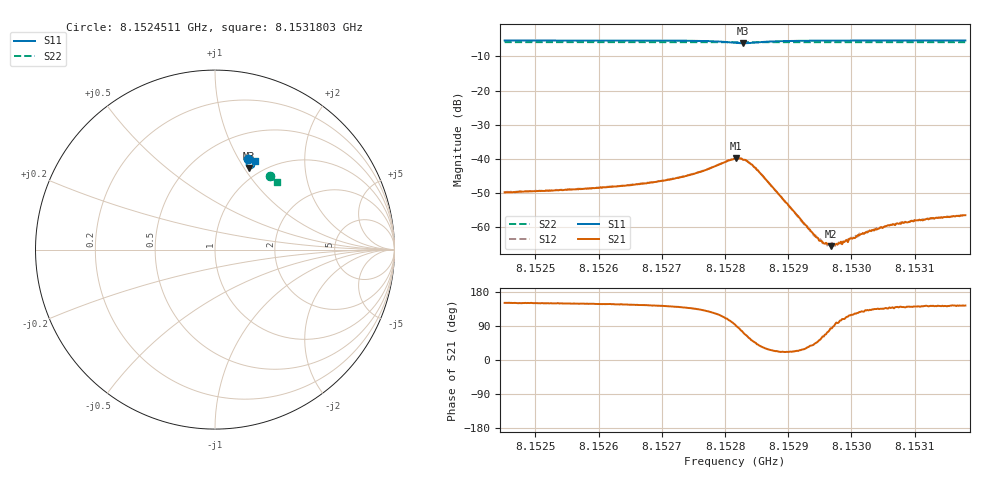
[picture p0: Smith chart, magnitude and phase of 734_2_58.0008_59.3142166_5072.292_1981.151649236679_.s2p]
#  HZ  S  RI  R  50.00
! Rohde & Schwarz Vector Network Analyzer
! Rohde-Schwarz,ZNB20-2Port,1311601062101988,3.16
! Created: UTC 3/21/2024, 1:23:12 AM
! freq[Hz]  re:S11  im:S11  re:S21  im:S21  re:S12  im:S12  re:S22  im:S22
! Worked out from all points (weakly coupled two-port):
!   401 points, 8.1524511 GHz to 8.1531803 GHz, reference 50 ohm
!   highest |S21| = -39.80 dB at 8.1528175 GHz (marker M1); lowest = -65.5 dB at 8.152967 GHz (marker M2)
!   lowest |S11| = -6.1 dB at 8.1528285 GHz (marker M3), VSWR 2.94, Z = 44 + j52.7 ohm
!   |S11| at or under -10 dB: nowhere
!   |S22| runs from -5.9 to -5.8 dB; largest |S21 - S12| = 0.00038
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8.15245115e9  0.186 0.5073  -0.00285 0.00159  -0.00285 0.00168  0.3082 0.4078
8.15257328e9  0.1959 0.5035  -0.00311 0.0019  -0.00309 0.00196  0.3144 0.4029
8.15263161e9  0.2011 0.5011  -0.00336 0.0022  -0.00334 0.00225  0.3173 0.4006
8.1526954e9  0.208 0.4969  -0.00377 0.00285  -0.00379 0.0029  0.3203 0.3979
8.15275009e9  0.2157 0.4893  -0.00432 0.00422  -0.00432 0.00433  0.323 0.3953
8.15279201e9  0.2199 0.4723  -0.00395 0.00743  -0.00381 0.00757  0.3248 0.3929
8.15281571e9  0.2072 0.4553  -0.000625 0.01  -0.000321 0.0101  0.3253 0.3916
8.15281753e9  0.2051 0.4545  4.38e-06 0.0102  0.00019 0.0102  0.3253 0.3916
8.15282847e9  0.1907 0.4543  0.00283 0.00931  0.00312 0.00951  0.3252 0.3914
8.15283941e9  0.1793 0.4635  0.00479 0.00722  0.00505 0.00702  0.3255 0.3915
8.15285217e9  0.1759 0.477  0.00517 0.00443  0.00522 0.00423  0.3262 0.3916
8.15293784e9  0.1996 0.4981  0.000657 0.00053  0.000679 0.000552  0.3313 0.3885
8.15295242e9  0.2022 0.498  0.000341 0.000537  0.000342 0.000546  0.3321 0.3877
8.15295789e9  0.2029 0.498  0.000228 0.000532  0.000231 0.000538  0.3323 0.3876
8.15296701e9  0.2043 0.4978  5.83e-05 0.000529  7.19e-05 0.000533  0.3328 0.3871
8.1529743e9  0.2055 0.4977  -4.73e-05 0.000557  -4.84e-06 0.00054  0.3332 0.3868
8.15299253e9  0.2078 0.4974  -0.000263 0.000598  -0.000249 0.000608  0.3341 0.3861
8.15301622e9  0.2104 0.4968  -0.000499 0.000628  -0.000507 0.000656  0.3352 0.385
8.15303992e9  0.2129 0.4961  -0.000654 0.000664  -0.000701 0.000693  0.3363 0.384
8.15305997e9  0.2149 0.4956  -0.000799 0.000702  -0.000794 0.000732  0.3373 0.383
8.15310007e9  0.2183 0.4945  -0.000995 0.000801  -0.000992 0.000812  0.3393 0.3812
8.15318028e9  0.2247 0.492  -0.00122 0.000892  -0.0012 0.00091  0.343 0.3778
